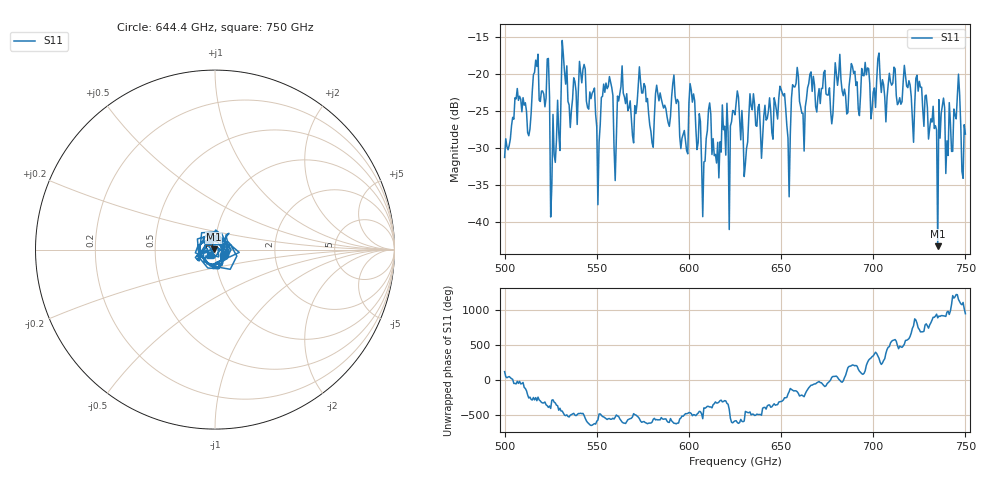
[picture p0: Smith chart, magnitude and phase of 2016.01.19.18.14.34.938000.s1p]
!Created with skrf (http://scikit-rf.org).
# GHz S RI R 50.0
!freq ReS11 ImS11
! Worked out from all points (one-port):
!   401 points, 500 GHz to 750 GHz, reference 50 ohm
!   lowest |S11| = -43.3 dB at 735 GHz (marker M1), VSWR 1.01, Z = 49.3 + j0.157 ohm
!   |S11| at or under -10 dB: start of sweep to end of sweep
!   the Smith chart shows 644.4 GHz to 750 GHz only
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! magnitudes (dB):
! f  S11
! 500 GHz  -31.3
! 506.9 GHz  -22.0
! 513.1 GHz  -28.3
! 516.9 GHz  -18.1
! 523.1 GHz  -18.0
! 526.2 GHz  -25.5
! 531.2 GHz  -15.5
! 542.5 GHz  -19.4
! 550.6 GHz  -37.7
! 553.8 GHz  -21.4
! 562.5 GHz  -22.7
! 593.8 GHz  -23.4
! 598.1 GHz  -29.0
! 601.9 GHz  -23.8
! 608.1 GHz  -31.9
! 610.6 GHz  -24.8
! 615 GHz  -32.0
! 625 GHz  -25.5
! 630.6 GHz  -32.2
! 634.4 GHz  -24.8
! 650.6 GHz  -22.6
! 653.8 GHz  -28.6
! 656.2 GHz  -21.4
! 687.5 GHz  -20.3
! 718.8 GHz  -21.8
! 735 GHz  -43.3
! 745.6 GHz  -23.0
! 750 GHz  -28.1
